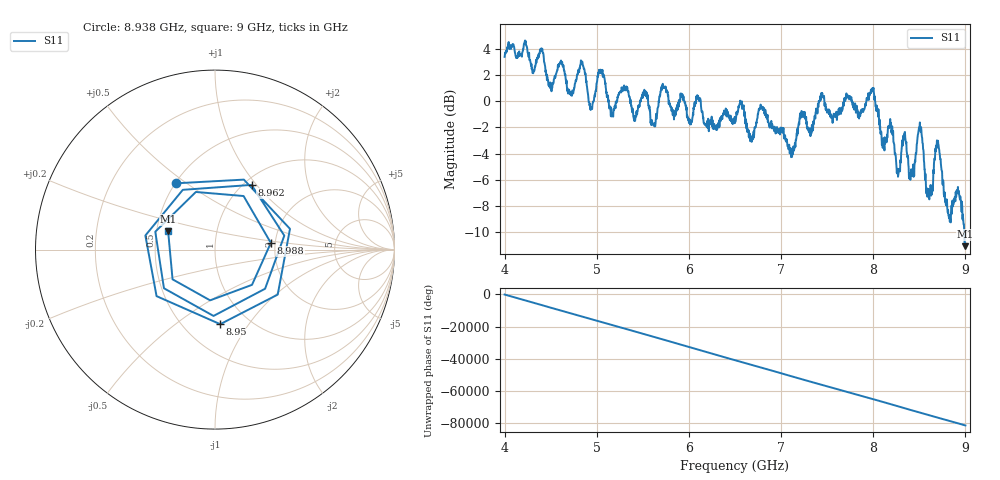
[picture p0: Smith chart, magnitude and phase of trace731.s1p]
! Created with skrf 1.8.0 (http://scikit-rf.org).
# Hz S RI R 50.0
!freq ReS11 ImS11
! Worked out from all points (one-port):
!   1601 points, 4 GHz to 9 GHz, reference 50 ohm
!   lowest |S11| = -11.1 dB at 9 GHz (marker M1), VSWR 1.78, Z = 28.8 + j6.31 ohm
!   |S11| at or under -10 dB: 8.987505 GHz to end of sweep
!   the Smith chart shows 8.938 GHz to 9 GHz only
!   S11 on the Smith chart (normalised r, x): 8.938 GHz: 0.50, +0.46; 8.95 GHz: 0.74, -0.74; 8.962 GHz: 1.08, +0.94; 8.988 GHz: 1.89, +0.16; 9 GHz: 0.58, +0.13
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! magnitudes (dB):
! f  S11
! 4 GHz  3.4
! 4.625 GHz  3.0
! 4.709 GHz  0.5
! 4.844 GHz  3.0
! 4.938 GHz  -0.6
! 5.038 GHz  2.3
! 5.159 GHz  -0.9
! 5.25 GHz  0.7
! 5.875 GHz  -0.3
! 6.5 GHz  -1.6
! 6.681 GHz  -3.1
! 6.791 GHz  -0.5
! 7.125 GHz  -4.1
! 7.225 GHz  -0.8
! 7.75 GHz  0.2
! 7.991 GHz  1.0
! 8.103 GHz  -3.6
! 8.375 GHz  -4.2
! 8.422 GHz  -5.4
! 8.506 GHz  -1.6
! 8.594 GHz  -7.1
! 8.697 GHz  -3.3
! 8.819 GHz  -8.7
! 8.938 GHz  -7.4
! 8.95 GHz  -7.6
! 8.962 GHz  -7.7
! 8.988 GHz  -10.1
! 9 GHz  -11.1
